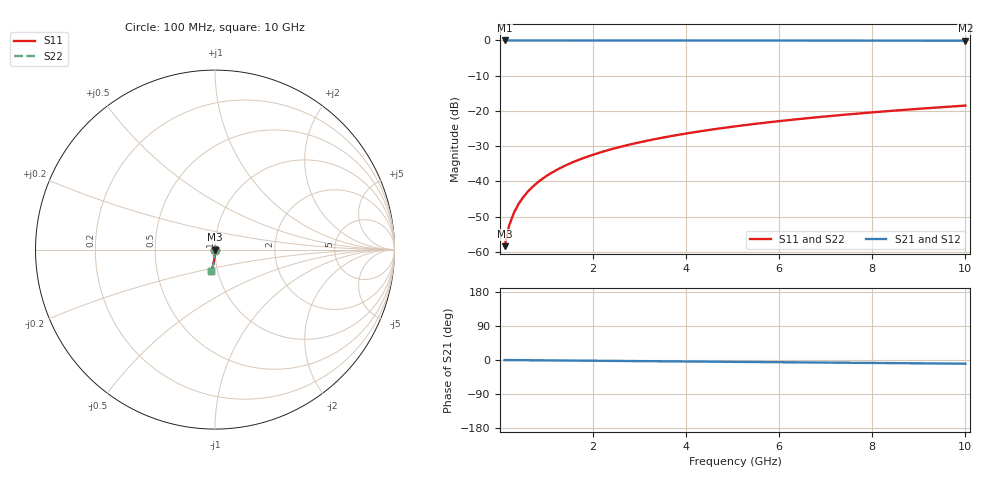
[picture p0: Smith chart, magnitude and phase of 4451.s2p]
# Hz S RI R 50.00
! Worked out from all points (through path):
!   100 points, 100 MHz to 10 GHz, reference 50 ohm
!   highest |S21| = 0.00 dB at 100 MHz (marker M1); lowest = -0.1 dB at 10 GHz (marker M2)
!   group delay of S21, straight-line fit = 2.7 ps
!   lowest |S11| = -58.4 dB at 100 MHz (marker M3), VSWR 1.00, Z = 50 - j0.12 ohm
!   |S11| at or under -10 dB: start of sweep to end of sweep
!   |S22| runs from -58.4 to -18.5 dB; largest |S21 - S12| = 0
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1e8  0.000153 -0.00119  0.9998 -0.00169  0.9998 -0.00169  0.000153 -0.00119
2e8  0.000146 -0.00239  0.9998 -0.00339  0.9998 -0.00339  0.000146 -0.00239
3e8  0.000136 -0.00358  0.9998 -0.00508  0.9998 -0.00508  0.000136 -0.00358
4e8  0.000121 -0.00478  0.9998 -0.00678  0.9998 -0.00678  0.000121 -0.00478
5e8  0.000102 -0.00597  0.9998 -0.00847  0.9998 -0.00847  0.000102 -0.00597
6e8  7.85e-05 -0.00717  0.9998 -0.0102  0.9998 -0.0102  7.85e-05 -0.00717
7e8  5.13e-05 -0.00836  0.9997 -0.0119  0.9997 -0.0119  5.13e-05 -0.00836
8e8  1.99e-05 -0.00956  0.9997 -0.0136  0.9997 -0.0136  1.99e-05 -0.00956
9e8  -1.55e-05 -0.0108  0.9997 -0.0152  0.9997 -0.0152  -1.55e-05 -0.0108
1.1e9  -9.85e-05 -0.0131  0.9996 -0.0186  0.9996 -0.0186  -9.85e-05 -0.0131
1.4e9  -0.000254 -0.0167  0.9994 -0.0237  0.9994 -0.0237  -0.000254 -0.0167
1.8e9  -0.000517 -0.0215  0.9991 -0.0305  0.9991 -0.0305  -0.000517 -0.0215
2.1e9  -0.000757 -0.0251  0.9989 -0.0356  0.9989 -0.0356  -0.000757 -0.0251
2.5e9  -0.00113 -0.0298  0.9985 -0.0423  0.9985 -0.0423  -0.00113 -0.0298
2.9e9  -0.00158 -0.0346  0.998 -0.0491  0.998 -0.0491  -0.00158 -0.0346
3.4e9  -0.00222 -0.0406  0.9973 -0.0575  0.9973 -0.0575  -0.00222 -0.0406
4.2e9  -0.00346 -0.0501  0.996 -0.071  0.996 -0.071  -0.00346 -0.0501
5.1e9  -0.00516 -0.0607  0.9942 -0.0862  0.9942 -0.0862  -0.00516 -0.0607
5.9e9  -0.00694 -0.0701  0.9923 -0.0996  0.9923 -0.0996  -0.00694 -0.0701
6.7e9  -0.00898 -0.0795  0.9901 -0.113  0.9901 -0.113  -0.00898 -0.0795
8.4e9  -0.0141 -0.0991  0.9846 -0.1412  0.9846 -0.1412  -0.0141 -0.0991
1e10  -0.02 -0.1173  0.9783 -0.1674  0.9783 -0.1674  -0.02 -0.1173
